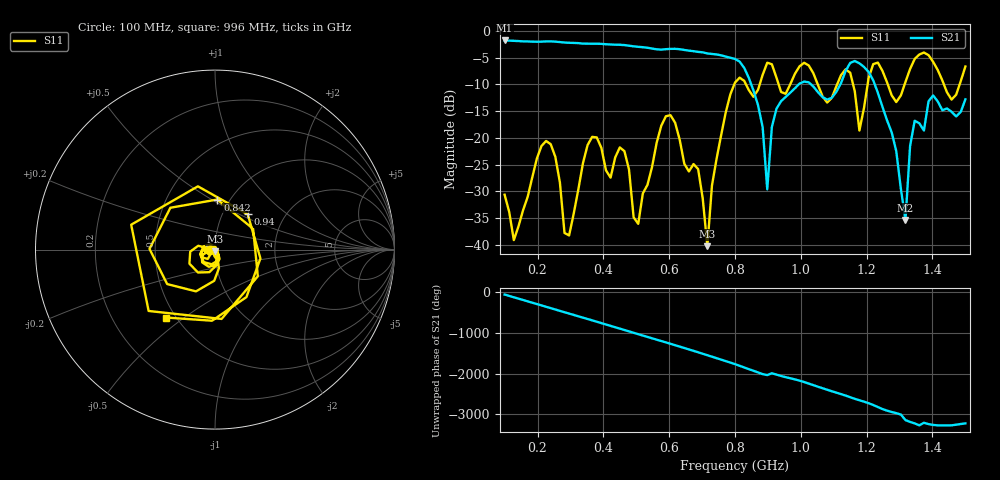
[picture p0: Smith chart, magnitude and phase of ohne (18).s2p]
! NanoVNA-App
! Date: 2025-09-25 14:20:56
! Start: 100MHz Stop: 1,5GHz Points: 101
! S-Parameter data: F S11 S21 S12 S22
# Hz S RI R 50
!  Frequency  S11_Real  S11_Imag  S21_Real  S21_Imag  S12_Real  S12_Imag  S22_Real  S22_Imag
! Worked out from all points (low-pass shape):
!   101 points, 100 MHz to 1.5 GHz, reference 50 ohm
!   highest |S21| = -1.79 dB at 100 MHz (marker M1); lowest = -35.4 dB at 1.318 GHz (marker M2)
!   |S21| within 3 dB of the highest: start of sweep to 771 MHz
!   lowest |S11| = -40.3 dB at 716 MHz (marker M3), VSWR 1.02, Z = 49.8 - j0.95 ohm
!   |S11| at or under -10 dB: start of sweep to 797.9 MHz; 833.3 MHz to 875.1 MHz (41.82 MHz wide, 4.9 % of centre); 1.051 GHz to 1.11 GHz (59.12 MHz wide, 5.47 % of centre) (the widest 3 of 7)
!   S12 and S22 are empty: the file has one direction only
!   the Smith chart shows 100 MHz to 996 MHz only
!   S11 on the Smith chart (normalised r, x): 100 MHz: 0.94, -0.01; 842 MHz: 0.88, +0.53; 940 MHz: 1.31, +0.56; 996 MHz: 0.45, -0.43
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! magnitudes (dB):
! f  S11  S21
! 100 MHz  -30.6  -1.8
! 128 MHz  -39.1  -1.9
! 226 MHz  -20.6  -2.0
! 296 MHz  -38.3  -2.2
! 338 MHz  -24.8  -2.4
! 464 MHz  -22.5  -2.7
! 506 MHz  -36.1  -3.0
! 576 MHz  -17.8  -3.5
! 688 MHz  -25.9  -3.9
! 716 MHz  -40.3  -4.2
! 800 MHz  -9.7  -5.3
! 842 MHz  -11.1  -8.8
! 898 MHz  -6.0  -29.6
! 940 MHz  -11.4  -13.2
! 996 MHz  -6.6  -9.9
! 1.038 GHz  -7.9  -10.4
! 1.178 GHz  -18.6  -6.1
! 1.22 GHz  -6.2  -9.3
! 1.276 GHz  -12.1  -19.0
! 1.318 GHz  -9.5  -35.4
! 1.346 GHz  -5.2  -16.8
! 1.5 GHz  -6.7  -12.8
